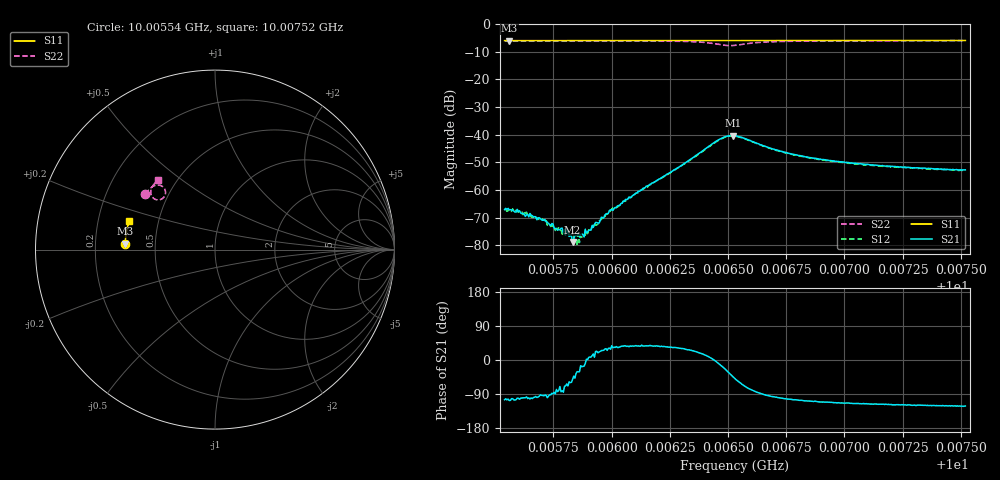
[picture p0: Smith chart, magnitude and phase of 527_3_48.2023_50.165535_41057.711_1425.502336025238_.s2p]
#  HZ  S  RI  R  50.00
! Rohde & Schwarz Vector Network Analyzer
! Rohde-Schwarz,ZNB20-2Port,1311601062101988,3.16
! Created: UTC 3/20/2024, 11:59:44 AM
! freq[Hz]  re:S11  im:S11  re:S21  im:S21  re:S12  im:S12  re:S22  im:S22
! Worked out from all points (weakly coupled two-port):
!   401 points, 10.00554 GHz to 10.00752 GHz, reference 50 ohm
!   highest |S21| = -40.31 dB at 10.00652 GHz (marker M1); lowest = -78.7 dB at 10.00583 GHz (marker M2)
!   lowest |S11| = -6.0 dB at 10.00556 GHz (marker M3), VSWR 3.01, Z = 16.6 + j1.47 ohm
!   |S11| at or under -10 dB: nowhere
!   |S22| runs from -7.8 to -6.0 dB; largest |S21 - S12| = 0.00061
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1.000554e10  -0.5003 0.0317  -0.000115 -0.000431  -9.15e-05 -0.000441  -0.389 0.3088
1.000556e10  -0.5001 0.033  -0.000127 -0.000421  -0.000112 -0.000423  -0.388 0.3099
1.0005634e10  -0.5001 0.0379  -4.61e-05 -0.000356  -5.8e-05 -0.000397  -0.3849 0.3142
1.0005664e10  -0.4999 0.0397  -5.16e-05 -0.000323  -4.68e-05 -0.000316  -0.3834 0.3161
1.0005703e10  -0.4998 0.0423  -1.72e-05 -0.000284  1.08e-05 -0.000302  -0.3816 0.3184
1.0005733e10  -0.4998 0.0444  -7.63e-06 -0.000241  -6.47e-06 -0.000241  -0.3801 0.3202
1.0005763e10  -0.4996 0.0463  4.29e-05 -0.000196  3.65e-05 -0.000215  -0.3786 0.3221
1.0005793e10  -0.4993 0.0481  1.49e-05 -0.000167  3.28e-05 -0.00017  -0.377 0.3241
1.0005832e10  -0.4993 0.0508  7.28e-05 -9.07e-05  0.000103 -0.000137  -0.3748 0.3264
1.0005852e10  -0.4991 0.0521  0.000128 -7.58e-05  7.52e-05 -6.14e-05  -0.3739 0.3277
1.0005872e10  -0.499 0.0535  0.000154 -4.9e-05  0.000125 -6.27e-05  -0.3729 0.329
1.0005901e10  -0.4989 0.0553  0.000185 2.26e-05  0.000192 -5.13e-07  -0.3712 0.3309
1.0005926e10  -0.4989 0.0569  0.000238 3.09e-05  0.000246 6.45e-05  -0.3696 0.3324
1.0006e10  -0.4983 0.0617  0.000357 0.000274  0.000386 0.000239  -0.3648 0.3374
1.0006203e10  -0.4969 0.0749  0.00127 0.000941  0.00119 0.00098  -0.3463 0.3521
1.0006456e10  -0.4941 0.091  0.00789 -0.00101  0.00772 -0.000548  -0.2777 0.3312
1.000652e10  -0.4932 0.0945  0.007 -0.00665  0.00726 -0.00611  -0.2953 0.2826
1.000653e10  -0.4931 0.095  0.00626 -0.00726  0.00657 -0.00675  -0.3033 0.2791
1.0006713e10  -0.4922 0.1068  -0.000822 -0.00519  -0.000531 -0.0051  -0.3582 0.323
1.0006862e10  -0.4902 0.1162  -0.00125 -0.00361  -0.00105 -0.00359  -0.3518 0.3456
1.0007193e10  -0.4856 0.1373  -0.00126 -0.00241  -0.00112 -0.00242  -0.3338 0.3715
1.000752e10  -0.4798 0.1577  -0.00121 -0.00198  -0.00111 -0.00197  -0.3165 0.3895
